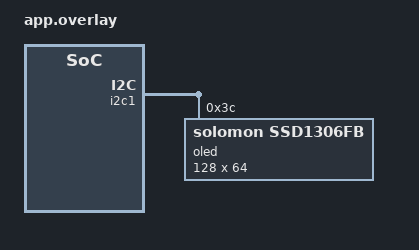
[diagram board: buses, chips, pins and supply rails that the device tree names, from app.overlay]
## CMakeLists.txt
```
cmake_minimum_required(VERSION 3.20.0)
find_package(Zephyr REQUIRED HINTS $ENV{ZEPHYR_BASE})
project(oled_html_demo)

target_sources(app PRIVATE
  src/main.c
  src/htm_package_oled/html_lite.c
  src/htm_package_oled/html_ui_package.c
  src/htm_package_oled/html_ui_platform_swipbox.c
  src/htm_package_oled/html_ui_template_store.c
  src/htm_package_oled/html_ui_templates.c
)

target_include_directories(app PRIVATE src)
```

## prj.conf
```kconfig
CONFIG_DISPLAY=y
CONFIG_LOG=y
CONFIG_LOG_DEFAULT_LEVEL=3

CONFIG_FILE_SYSTEM=y
CONFIG_FILE_SYSTEM_LITTLEFS=y
CONFIG_FLASH=y
CONFIG_FLASH_MAP=y
CONFIG_NVS=y

CONFIG_MAIN_STACK_SIZE=4096
```

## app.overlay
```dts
/*
 * Update bus/pins for your board before building.
 * This is a starter SSD1306 node example.
 */

&i2c1 {
    status = "okay";

    oled@3c {
        compatible = "solomon,ssd1306fb";
        reg = <0x3c>;
        width = <128>;
        height = <64>;
        segment-offset = <0>;
        page-offset = <0>;
        display-offset = <0>;
        multiplex-ratio = <63>;
        prechargep = <0x22>;
    };
};
```

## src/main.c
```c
#include <zephyr/device.h>
#include <zephyr/drivers/display.h>
#include <zephyr/kernel.h>
#include <zephyr/logging/log.h>

#include "htm_package_oled/html_ui_package.h"
#include "htm_package_oled/html_ui_templates.h"

LOG_MODULE_REGISTER(oled_html_demo, LOG_LEVEL_INF);

static html_ui_context_t g_html_ctx;

int main(void)
{
    const struct device *display = DEVICE_DT_GET_ANY(solomon_ssd1306fb);

    if (display == NULL || !device_is_ready(display)) {
        LOG_ERR("OLED display device is not ready");
        return 0;
    }

    html_ui_init(&g_html_ctx, (void *)display, 10);
    html_ui_set_screen(&g_html_ctx, HTML_UI_SCREEN_STARTUP_HOME);

    /* Render a built-in template to verify package integration. */
    html_ui_render(&g_html_ctx, HTML_UI_TEMPLATE_SCAN_HOME);

    while (1) {
        (void)html_ui_handle_input(&g_html_ctx, 0, NULL, NULL);
        k_sleep(K_MSEC(50));
    }

    return 0;
}
```
